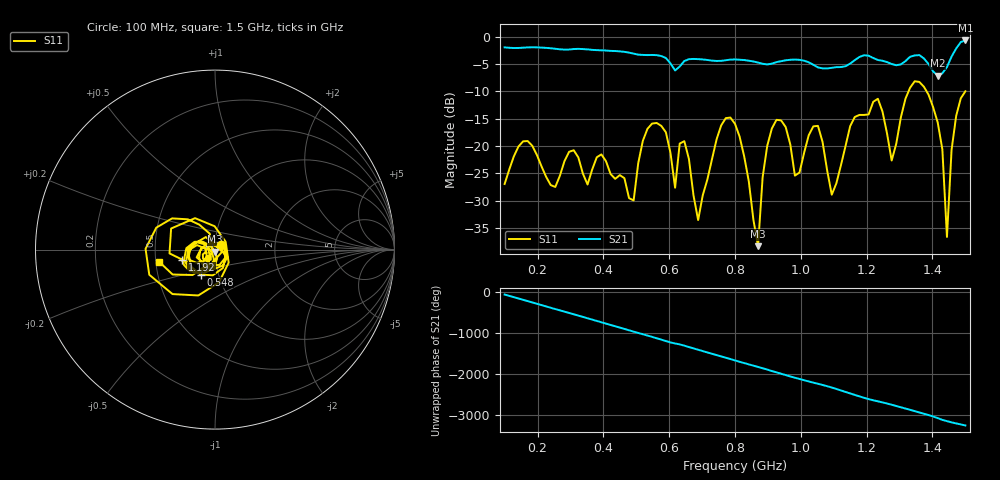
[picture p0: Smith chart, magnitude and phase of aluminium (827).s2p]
! NanoVNA-App
! Date: 2025-09-25 15:01:43
! Start: 100MHz Stop: 1,5GHz Points: 101
! S-Parameter data: F S11 S21 S12 S22
# Hz S RI R 50
!  Frequency  S11_Real  S11_Imag  S21_Real  S21_Imag  S12_Real  S12_Imag  S22_Real  S22_Imag
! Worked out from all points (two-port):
!   101 points, 100 MHz to 1.5 GHz, reference 50 ohm
!   highest |S21| = -0.65 dB at 1.5 GHz (marker M1); lowest = -7.1 dB at 1.416 GHz (marker M2)
!   |S21| within 3 dB of the highest: start of sweep to 581.7 MHz; 1.458 GHz to end of sweep (the widest 2 of 4)
!   lowest |S11| = -38.3 dB at 870 MHz (marker M3), VSWR 1.02, Z = 50 - j1.21 ohm
!   |S11| at or under -10 dB: start of sweep to 1.327 GHz; 1.382 GHz to 1.5 GHz (117.2 MHz wide, 8.14 % of centre)
!   S12 and S22 are empty: the file has one direction only
!   S11 on the Smith chart (normalised r, x): 100 MHz: 1.07, +0.06; 548 MHz: 0.82, -0.23; 1.192 GHz: 0.68, -0.08; 1.5 GHz: 0.52, -0.08
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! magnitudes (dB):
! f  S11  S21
! 100 MHz  -27.0  -1.9
! 156 MHz  -19.1  -2.0
! 338 MHz  -25.1  -2.2
! 492 MHz  -30.0  -3.1
! 548 MHz  -15.9  -3.3
! 576 MHz  -16.3  -3.5
! 618 MHz  -27.6  -6.2
! 646 MHz  -19.1  -4.4
! 688 MHz  -33.6  -4.1
! 800 MHz  -15.9  -4.1
! 870 MHz  -38.3  -4.7
! 912 MHz  -16.8  -4.9
! 982 MHz  -25.4  -4.2
! 1.038 GHz  -16.4  -5.1
! 1.094 GHz  -28.9  -5.7
! 1.192 GHz  -14.3  -3.4
! 1.276 GHz  -22.7  -5.0
! 1.346 GHz  -8.1  -3.4
! 1.416 GHz  -15.7  -7.1
! 1.444 GHz  -36.7  -5.5
! 1.458 GHz  -20.7  -3.6
! 1.5 GHz  -10.0  -0.6
